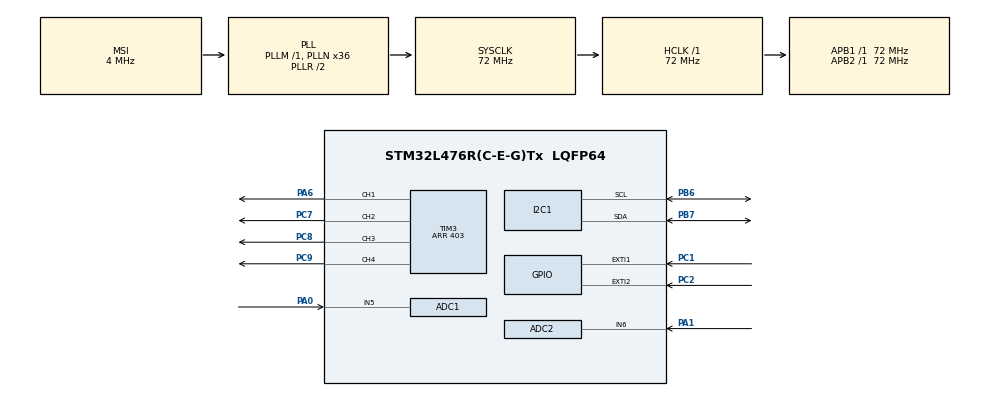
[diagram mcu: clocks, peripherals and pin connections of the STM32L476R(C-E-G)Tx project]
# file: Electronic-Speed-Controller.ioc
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ADC1.Channel-1\#ChannelRegularConversion=ADC_CHANNEL_5
ADC1.ClockPrescaler=ADC_CLOCK_SYNC_PCLK_DIV4
ADC1.ContinuousConvMode=DISABLE
ADC1.DMAContinuousRequests=DISABLE
ADC1.EOCSelection=ADC_EOC_SINGLE_CONV
ADC1.EnableRegularConversion=ENABLE
ADC1.NbrOfConversionFlag=1
ADC1.OffsetNumber-1\#ChannelRegularConversion=ADC_OFFSET_NONE
ADC1.Overrun=ADC_OVR_DATA_PRESERVED
ADC1.Rank-1\#ChannelRegularConversion=1
ADC1.SamplingTime-1\#ChannelRegularConversion=ADC_SAMPLETIME_12CYCLES_5
ADC1.master=1
ADC2.Channel-1\#ChannelRegularConversion=ADC_CHANNEL_6
ADC2.ClockPrescaler=ADC_CLOCK_SYNC_PCLK_DIV4
ADC2.ContinuousConvMode=DISABLE
ADC2.DMAContinuousRequests=DISABLE
ADC2.EnableRegularConversion=ENABLE
ADC2.NbrOfConversionFlag=1
ADC2.OffsetNumber-1\#ChannelRegularConversion=ADC_OFFSET_NONE
ADC2.Rank-1\#ChannelRegularConversion=1
ADC2.SamplingTime-1\#ChannelRegularConversion=ADC_SAMPLETIME_12CYCLES_5
I2C1.Timing=0x10C18DCC
Mcu.Family=STM32L4
Mcu.Name=STM32L476R(C-E-G)Tx
Mcu.Package=LQFP64
NVIC.ADC1_2_IRQn=true\:0\:0\:false\:false\:true\:true\:true\:true
NVIC.EXTI1_IRQn=true\:0\:0\:false\:false\:true\:true\:true\:true
NVIC.EXTI2_IRQn=true\:0\:0\:false\:false\:true\:true\:true\:true
NVIC.PriorityGroup=NVIC_PRIORITYGROUP_4
NVIC.TIM2_IRQn=true\:0\:0\:false\:false\:true\:true\:true\:true
PA0.Signal=ADCx_IN5
PA1.Signal=ADCx_IN6
PA13\ (JTMS-SWDIO).Mode=Trace_Asynchronous_SW
PA13\ (JTMS-SWDIO).Signal=SYS_JTMS-SWDIO
PA14\ (JTCK-SWCLK).Mode=Trace_Asynchronous_SW
PA14\ (JTCK-SWCLK).Signal=SYS_JTCK-SWCLK
PA6.Signal=S_TIM3_CH1
PB3\ (JTDO-TRACESWO).Mode=Trace_Asynchronous_SW
PB3\ (JTDO-TRACESWO).Signal=SYS_JTDO-SWO
PB6.Mode=I2C
PB6.Signal=I2C1_SCL
PB7.Mode=I2C
PB7.Signal=I2C1_SDA
PC1.GPIO_ModeDefaultEXTI=GPIO_MODE_IT_FALLING
PC1.Signal=GPXTI1
PC2.GPIO_ModeDefaultEXTI=GPIO_MODE_IT_RISING_FALLING
PC2.Signal=GPXTI2
PC7.Signal=S_TIM3_CH2
PC8.Signal=S_TIM3_CH3
PC9.Signal=S_TIM3_CH4
PH0-OSC_IN\ (PH0).Mode=HSE-External-Oscillator
PH0-OSC_IN\ (PH0).Signal=RCC_OSC_IN
PH1-OSC_OUT\ (PH1).Mode=HSE-External-Oscillator
PH1-OSC_OUT\ (PH1).Signal=RCC_OSC_OUT
ProjectManager.HeapSize=0x200
ProjectManager.StackSize=0x400
ProjectManager.TargetToolchain=STM32CubeIDE
RCC.ADCFreq_Value=32000000
RCC.AHBFreq_Value=72000000
RCC.APB1Freq_Value=72000000
RCC.APB1TimFreq_Value=72000000
RCC.APB2Freq_Value=72000000
RCC.APB2TimFreq_Value=72000000
RCC.CortexFreq_Value=72000000
RCC.HCLKFreq_Value=72000000
RCC.HSE_VALUE=8000000
RCC.HSI_VALUE=16000000
RCC.LSE_VALUE=32768
RCC.MSI_VALUE=4000000
RCC.PLLN=36
RCC.PLLSAI1N=16
RCC.SYSCLKFreq_VALUE=72000000
RCC.SYSCLKSource=RCC_SYSCLKSOURCE_PLLCLK
RCC.USBFreq_Value=32000000
RCC.VCOOutputFreq_Value=144000000
SH.ADCx_IN5.0=ADC1_IN5,IN5-Single-Ended
SH.ADCx_IN6.0=ADC2_IN6,IN6-Single-Ended
SH.S_TIM3_CH1.0=TIM3_CH1,PWM Generation1 CH1
SH.S_TIM3_CH2.0=TIM3_CH2,PWM Generation2 CH2
SH.S_TIM3_CH3.0=TIM3_CH3,PWM Generation3 CH3
SH.S_TIM3_CH4.0=TIM3_CH4,PWM Generation4 CH4
TIM2.Period=71999
TIM2.Prescaler=249
TIM3.AutoReloadPreload=TIM_AUTORELOAD_PRELOAD_ENABLE
TIM3.Channel-PWM\ Generation1\ CH1=TIM_CHANNEL_1
TIM3.Channel-PWM\ Generation2\ CH2=TIM_CHANNEL_2
TIM3.Channel-PWM\ Generation3\ CH3=TIM_CHANNEL_3
TIM3.Channel-PWM\ Generation4\ CH4=TIM_CHANNEL_4
TIM3.Period=403
VP_TIM2_VS_ClockSourceINT.Mode=Internal
VP_TIM3_VS_ClockSourceINT.Mode=Internal
board=custom

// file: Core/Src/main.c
/* USER CODE BEGIN Header */
/* USER CODE END Header */
#include "main.h"

/* USER CODE BEGIN Includes */
#include "H_bridge.h"
#include "user_input.h"
#include "rpm_feedback.h"
#include "stm32l4xx_hal.h"
#include "display_7seg.h"
/* USER CODE END Includes */

ADC_HandleTypeDef hadc1;
ADC_HandleTypeDef hadc2;

I2C_HandleTypeDef hi2c1;

TIM_HandleTypeDef htim2;
TIM_HandleTypeDef htim3;

void SystemClock_Config(void);
static void MX_GPIO_Init(void);
static void MX_TIM3_Init(void);
static void MX_ADC1_Init(void);
static void MX_TIM2_Init(void);
static void MX_ADC2_Init(void);
static void MX_I2C1_Init(void);

/* USER CODE BEGIN 0 */
static int last_update = 0;
int prior_state = -1; // Prior state of the H-Bridge
int prior_hall = 0;
int input_hall = 0; // ADC input value from the hall effect sensor
int pulse_num = 0;
int input_pot = 0;
int feedback_pot = 0; // Input value scaled by feedback
int exp_rpm = 0; // "Expected" RPM of the motor based on the input value
int real_rpm = 0; // Calculated RPM of the motor
int feedback = 0;
/* USER CODE END 0 */

int main(void)
{

  /* MCU Configuration--------------------------------------------------------*/

  /* Reset of all peripherals, Initializes the Flash interface and the Systick. */
  HAL_Init();

  /* Configure the system clock */
  SystemClock_Config();

  /* Initialize all configured peripherals */
  MX_GPIO_Init();
  MX_TIM3_Init();
  MX_ADC1_Init();
  MX_TIM2_Init();
  MX_ADC2_Init();
  MX_I2C1_Init();
  /* USER CODE BEGIN 2 */
  // Start clocks for PWM and feedback timing
  HAL_TIM_Base_Start_IT(&htim2); // Begin TIM2 in interrupt mode
  HAL_TIM_PWM_Start(&htim3, TIM_CHANNEL_1); // Begin PWM channels 1-4
  HAL_TIM_PWM_Start(&htim3, TIM_CHANNEL_2);
  HAL_TIM_PWM_Start(&htim3, TIM_CHANNEL_3);
  HAL_TIM_PWM_Start(&htim3, TIM_CHANNEL_4);
  HT16K33_Init(); // Initialize 7 segment display
  PWM_frequency(25000); // Set PWM frequency
  /* USER CODE END 2 */

  /* Infinite loop */
  /* USER CODE BEGIN WHILE */

  // Variables to hold input values and state'

  // Infinite loop for execution
  while(1)
  {
	  // Handle state switching
	  if(prior_state != dir_flag){
		  hbridge_state(0, -1); // All MOSFETs off before transition
		  input_pot = 0;
		  feedback_pot = 0;
		  feedback = 0;
		  HAL_Delay(2000); // 2s dead time if state switches
	  }
	  prior_state = dir_flag;

	  // Use non-blocking SysTick to slow input update, 5ms per update
	  if(HAL_GetTick() - last_update >= 5){
		  input_pot = user_input();
		  feedback_pot = update_input(input_pot, feedback_pot, feedback);

		  // Update the last update time
		  last_update = HAL_GetTick();
	  }

	  // Set H-Bridge state
	  hbridge_state(feedback_pot, dir_flag);

	  // Obtain and interpret hall effect sensor input
	  input_hall = hall_input();
      if (input_hall > 2400 && prior_hall == 0){
    	  pulse_num++;
    	  prior_hall = 1;
      }else if (input_hall < 50 && prior_hall == 1){
    	  pulse_num++;
    	  prior_hall = 0;
      }

      // Every 0.25 seconds, enter this sequence to calculate RPM/apply feedback
	  if(rpm_flag == 1){
		  rpm_flag = 0;
		  real_rpm = hall_rpm(pulse_num);
		  pulse_num = 0;
		  HT16K33_DisplayInteger(real_rpm); // Display measured RPM on 7 segment
		  exp_rpm = input_to_rpm(input_pot);
		  feedback = closed_loop_feedback(exp_rpm, real_rpm);
	  }
    /* USER CODE END WHILE */

  }
}

void SystemClock_Config(void)
{
  RCC_OscInitTypeDef RCC_OscInitStruct = {0};
  RCC_ClkInitTypeDef RCC_ClkInitStruct = {0};

  /** Configure the main internal regulator output voltage
  */
  if (HAL_PWREx_ControlVoltageScaling(PWR_REGULATOR_VOLTAGE_SCALE1) != HAL_OK)
  {
    Error_Handler();
  }

  /** Initializes the RCC Oscillators according to the specified parameters
  * in the RCC_OscInitTypeDef structure.
  */
  RCC_OscInitStruct.OscillatorType = RCC_OSCILLATORTYPE_MSI;
  RCC_OscInitStruct.MSIState = RCC_MSI_ON;
  RCC_OscInitStruct.MSICalibrationValue = 0;
  RCC_OscInitStruct.MSIClockRange = RCC_MSIRANGE_6;
  RCC_OscInitStruct.PLL.PLLState = RCC_PLL_ON;
  RCC_OscInitStruct.PLL.PLLSource = RCC_PLLSOURCE_MSI;
  RCC_OscInitStruct.PLL.PLLM = 1;
  RCC_OscInitStruct.PLL.PLLN = 36;
  RCC_OscInitStruct.PLL.PLLP = RCC_PLLP_DIV7;
  RCC_OscInitStruct.PLL.PLLQ = RCC_PLLQ_DIV2;
  RCC_OscInitStruct.PLL.PLLR = RCC_PLLR_DIV2;
  if (HAL_RCC_OscConfig(&RCC_OscInitStruct) != HAL_OK)
  {
    Error_Handler();
  }

  /** Initializes the CPU, AHB and APB buses clocks
  */
  RCC_ClkInitStruct.ClockType = RCC_CLOCKTYPE_HCLK|RCC_CLOCKTYPE_SYSCLK
                              |RCC_CLOCKTYPE_PCLK1|RCC_CLOCKTYPE_PCLK2;
  RCC_ClkInitStruct.SYSCLKSource = RCC_SYSCLKSOURCE_PLLCLK;
  RCC_ClkInitStruct.AHBCLKDivider = RCC_SYSCLK_DIV1;
  RCC_ClkInitStruct.APB1CLKDivider = RCC_HCLK_DIV1;
  RCC_ClkInitStruct.APB2CLKDivider = RCC_HCLK_DIV1;

  if (HAL_RCC_ClockConfig(&RCC_ClkInitStruct, FLASH_LATENCY_4) != HAL_OK)
  {
    Error_Handler();
  }
}

static void MX_ADC1_Init(void)
{

  ADC_MultiModeTypeDef multimode = {0};
  ADC_ChannelConfTypeDef sConfig = {0};

  /** Common config
  */
  hadc1.Instance = ADC1;
  hadc1.Init.ClockPrescaler = ADC_CLOCK_SYNC_PCLK_DIV4;
  hadc1.Init.Resolution = ADC_RESOLUTION_12B;
  hadc1.Init.DataAlign = ADC_DATAALIGN_RIGHT;
  hadc1.Init.ScanConvMode = ADC_SCAN_DISABLE;
  hadc1.Init.EOCSelection = ADC_EOC_SINGLE_CONV;
  hadc1.Init.LowPowerAutoWait = DISABLE;
  hadc1.Init.ContinuousConvMode = DISABLE;
  hadc1.Init.NbrOfConversion = 1;
  hadc1.Init.DiscontinuousConvMode = DISABLE;
  hadc1.Init.ExternalTrigConv = ADC_SOFTWARE_START;
  hadc1.Init.ExternalTrigConvEdge = ADC_EXTERNALTRIGCONVEDGE_NONE;
  hadc1.Init.DMAContinuousRequests = DISABLE;
  hadc1.Init.Overrun = ADC_OVR_DATA_PRESERVED;
  hadc1.Init.OversamplingMode = DISABLE;
  if (HAL_ADC_Init(&hadc1) != HAL_OK)
  {
    Error_Handler();
  }

  /** Configure the ADC multi-mode
  */
  multimode.Mode = ADC_MODE_INDEPENDENT;
  if (HAL_ADCEx_MultiModeConfigChannel(&hadc1, &multimode) != HAL_OK)
  {
    Error_Handler();
  }

  /** Configure Regular Channel
  */
  sConfig.Channel = ADC_CHANNEL_5;
  sConfig.Rank = ADC_REGULAR_RANK_1;
  sConfig.SamplingTime = ADC_SAMPLETIME_12CYCLES_5;
  sConfig.SingleDiff = ADC_SINGLE_ENDED;
  sConfig.OffsetNumber = ADC_OFFSET_NONE;
  sConfig.Offset = 0;
  if (HAL_ADC_ConfigChannel(&hadc1, &sConfig) != HAL_OK)
  {
    Error_Handler();
  }

}

static void MX_ADC2_Init(void)
{

  ADC_ChannelConfTypeDef sConfig = {0};

  /** Common config
  */
  hadc2.Instance = ADC2;
  hadc2.Init.ClockPrescaler = ADC_CLOCK_SYNC_PCLK_DIV4;
  hadc2.Init.Resolution = ADC_RESOLUTION_12B;
  hadc2.Init.DataAlign = ADC_DATAALIGN_RIGHT;
  hadc2.Init.ScanConvMode = ADC_SCAN_DISABLE;
  hadc2.Init.EOCSelection = ADC_EOC_SINGLE_CONV;
  hadc2.Init.LowPowerAutoWait = DISABLE;
  hadc2.Init.ContinuousConvMode = DISABLE;
  hadc2.Init.NbrOfConversion = 1;
  hadc2.Init.DiscontinuousConvMode = DISABLE;
  hadc2.Init.ExternalTrigConv = ADC_SOFTWARE_START;
  hadc2.Init.ExternalTrigConvEdge = ADC_EXTERNALTRIGCONVEDGE_NONE;
  hadc2.Init.DMAContinuousRequests = DISABLE;
  hadc2.Init.Overrun = ADC_OVR_DATA_PRESERVED;
  hadc2.Init.OversamplingMode = DISABLE;
  if (HAL_ADC_Init(&hadc2) != HAL_OK)
  {
    Error_Handler();
  }

  /** Configure Regular Channel
  */
  sConfig.Channel = ADC_CHANNEL_6;
  sConfig.Rank = ADC_REGULAR_RANK_1;
  sConfig.SamplingTime = ADC_SAMPLETIME_12CYCLES_5;
  sConfig.SingleDiff = ADC_SINGLE_ENDED;
  sConfig.OffsetNumber = ADC_OFFSET_NONE;
  sConfig.Offset = 0;
  if (HAL_ADC_ConfigChannel(&hadc2, &sConfig) != HAL_OK)
  {
    Error_Handler();
  }

}

static void MX_I2C1_Init(void)
{

  hi2c1.Instance = I2C1;
  hi2c1.Init.Timing = 0x10C18DCC;
  hi2c1.Init.OwnAddress1 = 0;
  hi2c1.Init.AddressingMode = I2C_ADDRESSINGMODE_7BIT;
  hi2c1.Init.DualAddressMode = I2C_DUALADDRESS_DISABLE;
  hi2c1.Init.OwnAddress2 = 0;
  hi2c1.Init.OwnAddress2Masks = I2C_OA2_NOMASK;
  hi2c1.Init.GeneralCallMode = I2C_GENERALCALL_DISABLE;
  hi2c1.Init.NoStretchMode = I2C_NOSTRETCH_DISABLE;
  if (HAL_I2C_Init(&hi2c1) != HAL_OK)
  {
    Error_Handler();
  }

  /** Configure Analogue filter
  */
  if (HAL_I2CEx_ConfigAnalogFilter(&hi2c1, I2C_ANALOGFILTER_ENABLE) != HAL_OK)
  {
    Error_Handler();
  }

  /** Configure Digital filter
  */
  if (HAL_I2CEx_ConfigDigitalFilter(&hi2c1, 0) != HAL_OK)
  {
    Error_Handler();
  }

}

static void MX_TIM2_Init(void)
{

  TIM_ClockConfigTypeDef sClockSourceConfig = {0};
  TIM_MasterConfigTypeDef sMasterConfig = {0};

  htim2.Instance = TIM2;
  htim2.Init.Prescaler = 249;
  htim2.Init.CounterMode = TIM_COUNTERMODE_UP;
  htim2.Init.Period = 71999;
  htim2.Init.ClockDivision = TIM_CLOCKDIVISION_DIV1;
  htim2.Init.AutoReloadPreload = TIM_AUTORELOAD_PRELOAD_DISABLE;
  if (HAL_TIM_Base_Init(&htim2) != HAL_OK)
  {
    Error_Handler();
  }
  sClockSourceConfig.ClockSource = TIM_CLOCKSOURCE_INTERNAL;
  if (HAL_TIM_ConfigClockSource(&htim2, &sClockSourceConfig) != HAL_OK)
  {
    Error_Handler();
  }
  sMasterConfig.MasterOutputTrigger = TIM_TRGO_RESET;
  sMasterConfig.MasterSlaveMode = TIM_MASTERSLAVEMODE_DISABLE;
  if (HAL_TIMEx_MasterConfigSynchronization(&htim2, &sMasterConfig) != HAL_OK)
  {
    Error_Handler();
  }

}

static void MX_TIM3_Init(void)
{

  TIM_ClockConfigTypeDef sClockSourceConfig = {0};
  TIM_MasterConfigTypeDef sMasterConfig = {0};
  TIM_OC_InitTypeDef sConfigOC = {0};

  htim3.Instance = TIM3;
  htim3.Init.Prescaler = 0;
  htim3.Init.CounterMode = TIM_COUNTERMODE_UP;
  htim3.Init.Period = 403;
  htim3.Init.ClockDivision = TIM_CLOCKDIVISION_DIV1;
  htim3.Init.AutoReloadPreload = TIM_AUTORELOAD_PRELOAD_ENABLE;
  if (HAL_TIM_Base_Init(&htim3) != HAL_OK)
  {
    Error_Handler();
  }
  sClockSourceConfig.ClockSource = TIM_CLOCKSOURCE_INTERNAL;
  if (HAL_TIM_ConfigClockSource(&htim3, &sClockSourceConfig) != HAL_OK)
  {
    Error_Handler();
  }
  if (HAL_TIM_PWM_Init(&htim3) != HAL_OK)
  {
    Error_Handler();
  }
  sMasterConfig.MasterOutputTrigger = TIM_TRGO_RESET;
  sMasterConfig.MasterSlaveMode = TIM_MASTERSLAVEMODE_DISABLE;
  if (HAL_TIMEx_MasterConfigSynchronization(&htim3, &sMasterConfig) != HAL_OK)
  {
    Error_Handler();
  }
  sConfigOC.OCMode = TIM_OCMODE_PWM1;
  sConfigOC.Pulse = 0;
  sConfigOC.OCPolarity = TIM_OCPOLARITY_HIGH;
  sConfigOC.OCFastMode = TIM_OCFAST_DISABLE;
  if (HAL_TIM_PWM_ConfigChannel(&htim3, &sConfigOC, TIM_CHANNEL_1) != HAL_OK)
  {
    Error_Handler();
  }
  if (HAL_TIM_PWM_ConfigChannel(&htim3, &sConfigOC, TIM_CHANNEL_2) != HAL_OK)
  {
    Error_Handler();
  }
  if (HAL_TIM_PWM_ConfigChannel(&htim3, &sConfigOC, TIM_CHANNEL_3) != HAL_OK)
  {
    Error_Handler();
  }
  if (HAL_TIM_PWM_ConfigChannel(&htim3, &sConfigOC, TIM_CHANNEL_4) != HAL_OK)
  {
    Error_Handler();
  }
  HAL_TIM_MspPostInit(&htim3);

}

static void MX_GPIO_Init(void)
{
  GPIO_InitTypeDef GPIO_InitStruct = {0};

  /* GPIO Ports Clock Enable */
  __HAL_RCC_GPIOH_CLK_ENABLE();
  __HAL_RCC_GPIOC_CLK_ENABLE();
  __HAL_RCC_GPIOA_CLK_ENABLE();
  __HAL_RCC_GPIOB_CLK_ENABLE();

  /*Configure GPIO pin : PC1 */
  GPIO_InitStruct.Pin = GPIO_PIN_1;
  GPIO_InitStruct.Mode = GPIO_MODE_IT_FALLING;
  GPIO_InitStruct.Pull = GPIO_NOPULL;
  HAL_GPIO_Init(GPIOC, &GPIO_InitStruct);

  /*Configure GPIO pin : PC2 */
  GPIO_InitStruct.Pin = GPIO_PIN_2;
  GPIO_InitStruct.Mode = GPIO_MODE_IT_RISING_FALLING;
  GPIO_InitStruct.Pull = GPIO_NOPULL;
  HAL_GPIO_Init(GPIOC, &GPIO_InitStruct);

  /* EXTI interrupt init*/
  HAL_NVIC_SetPriority(EXTI1_IRQn, 0, 0);
  HAL_NVIC_EnableIRQ(EXTI1_IRQn);

  HAL_NVIC_SetPriority(EXTI2_IRQn, 0, 0);
  HAL_NVIC_EnableIRQ(EXTI2_IRQn);

}

void Error_Handler(void)
{
  __disable_irq();
  while (1)
  {
  }
}
